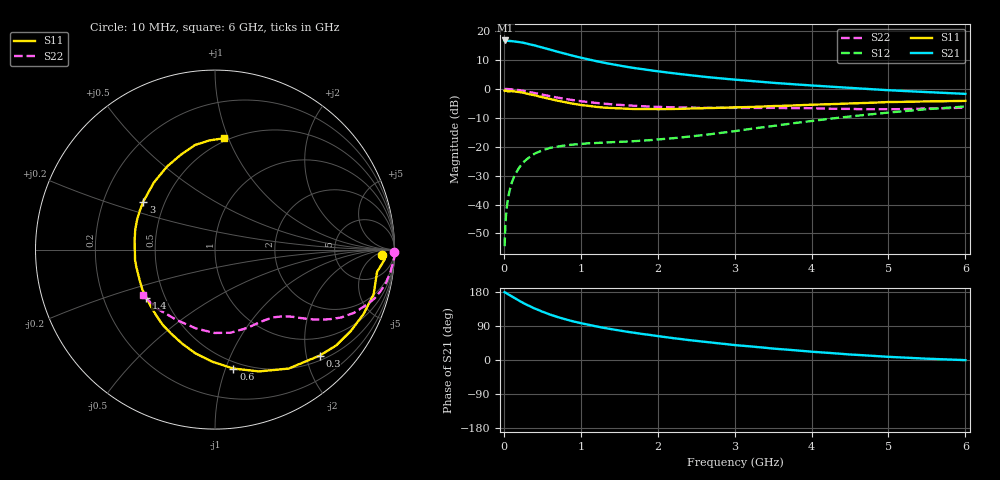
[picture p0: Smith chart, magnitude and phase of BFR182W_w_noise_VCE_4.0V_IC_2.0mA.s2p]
! (c) 2017  Infineon Technologies AG, Munich
! Infineon Technologies  Discrete & RF Semiconductors
! BFR182W
! VCE =  4.0 V,  IC =  2.0 mA
! Common Emitter S-Parameters:  Jan 2017
# GHz  S  MA  R  50
!  f  S11  S21  S12  S22
! GHz  MAG  ANG  MAG  ANG  MAG  ANG  MAG  ANG
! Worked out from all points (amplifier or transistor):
!   77 points, 10 MHz to 6 GHz, reference 50 ohm
!   highest |S21| = 16.8 dB at 20 MHz (marker M1)
!   |S21| within 3 dB of that: start of sweep to 577.1 MHz
!   unconditionally stable (mu >= 1): 1.762 GHz to 3.187 GHz
!   at 130 MHz: K = 0.09, MSG = 23.5 dB, |S12| = -30.6 dB
!   at 2.2 GHz: K = 1.08, MAG = 9.5 dB, |S12| = -17.1 dB
!   at 6 GHz: K = 0.83, MSG = 2.2 dB, |S12| = -6.1 dB
!   lowest NFmin = 0.85 dB at 450 MHz
!   S11 on the Smith chart (normalised r, x): 10 MHz: 24, -10; 300 MHz: 0.60, -2.26; 600 MHz: 0.44, -1.06; 1.4 GHz: 0.39, -0.27; 3 GHz: 0.38, +0.26; 6 GHz: 0.47, +0.96
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0.01  0.9298 -1.7  6.817 178.9  0.0019 89.6  1 -0.7
0.02  0.9468 -3.3  6.912 177.9  0.0045 93.7  1 -1.6
0.05  0.9114 -7.8  6.825 174.2  0.0117 87.1  0.9955 -3.7
0.1  0.9183 -15.7  6.735 168.3  0.0231 80.5  0.9855 -7.2
0.2  0.8824 -30.9  6.47 156.4  0.0437 72.8  0.9526 -13.9
0.25  0.8615 -38.2  6.318 150.7  0.0529 68.1  0.9305 -16.9
0.3  0.8304 -45.3  6.096 145.5  0.0612 65.1  0.9031 -19.7
0.4  0.7796 -58.2  5.678 135.9  0.0758 58.8  0.8504 -24.5
0.5  0.7214 -70.2  5.218 127.6  0.0865 53.6  0.7981 -28.3
0.6  0.6705 -81.2  4.801 120.0  0.0954 49.1  0.7499 -31.1
0.7  0.6253 -91.3  4.4 113.3  0.1005 46.4  0.7077 -33.5
0.8  0.5888 -100.6  4.065 107.4  0.1055 44.3  0.6717 -35.4
0.9  0.5551 -109.2  3.749 102.0  0.109 42.1  0.6408 -37.0
1.1  0.5102 -125.0  3.249 93.0  0.1148 40.7  0.5931 -39.6
1.4  0.4675 -145.1  2.691 81.3  0.1199 40.6  0.5423 -43.3
1.7  0.4496 -162.5  2.299 71.7  0.125 42.8  0.5111 -47.2
2.1  0.4473 178.3  1.947 60.5  0.137 47.6  0.4854 -53.2
3  0.4809 146.2  1.453 39.4  0.186 56.7  0.4705 -69.6
3.1  0.4835 143.3  1.415 37.7  0.1945 57.1  0.4695 -71.6
4.1  0.5382 118.0  1.128 20.5  0.2896 56.1  0.4601 -92.9
5.1  0.5959 99.1  0.937 7.4  0.401 47.6  0.4467 -122.0
6  0.6221 85.6  0.822 -0.4  0.4972 37.2  0.4763 -147.9
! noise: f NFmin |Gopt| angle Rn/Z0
0.45  0.85  0.5  30  0.26
0.9  0.99  0.4  58  0.24
1.9  1.74  0.3  142  0.14
2.4  2.11  0.26  164  0.19
